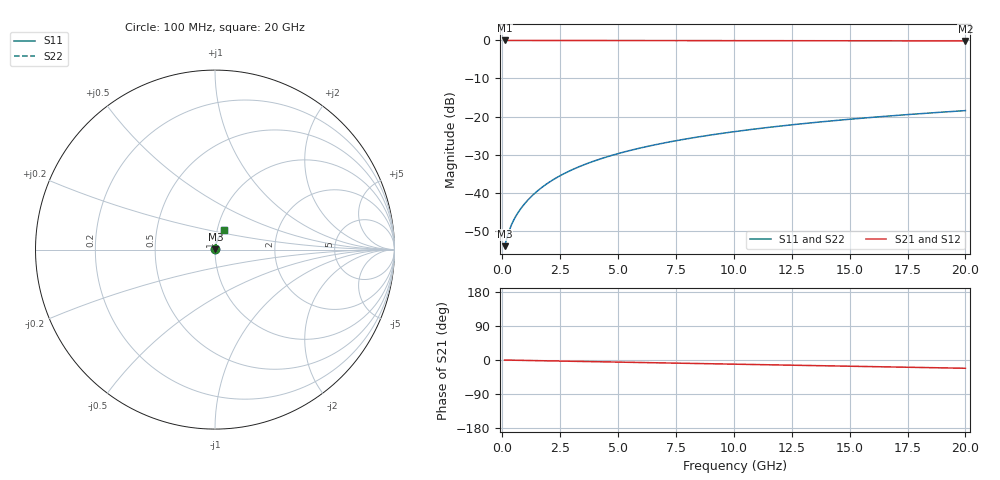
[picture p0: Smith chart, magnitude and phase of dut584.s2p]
! Touchstone file exported from HFSS 2026.1.0
!  File:  C:/ffzhzh/LocalFiles/Ansys_Project_Files/temp_train_TMRDL_584_1783008306_55676.aedt
!  Generated:  12:06:28 AM Jul  3, 2026
!  Design:  TMRDL
!  Project:  temp_train_TMRDL_584_1783008306_55676
! Variables:
!  h_bsmrdl = 2um
!  h_ox = 20um
!  h_rdl = 5um
!  h_sub = 80um
!  h_tmrdl = 2.94um
!  h_tsv = 80um
!  h_via = 3um
!  l_bsmrdl = 300um
!  l_sub = 743.12um
!  l_tmrdl = 343.12um
!  m_sub = 200um
!  pitch = 39.1um
!  r_tsv = 6um
!  s_tmrdl = 10um
!  w_bsmrdl = 18um
!  w_sub = 500um
!  w_tmrdl = 28.23um
!  x_tsv_center1 = 357.235um
!  x_tsv_center2 = 675.235um
!  x_tsv_center3 = 1046.585um
!  x_tsv_center4 = 1364.585um
!  x_tsv_center5 = 1735.935um
!  x_tsv_center6 = 2053.935um
# GHz S MA R 50.000000
! Terminal data exported
! Port[1] = TM_RDL1_1_T1
! Port[2] = TM_RDL1_1_T2
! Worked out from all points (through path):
!   200 points, 100 MHz to 20 GHz, reference 50 ohm
!   highest |S21| = -0.02 dB at 100 MHz (marker M1); lowest = -0.1 dB at 20 GHz (marker M2)
!   group delay of S21, straight-line fit = 3.02 ps
!   lowest |S11| = -54.0 dB at 100 MHz (marker M3), VSWR 1.00, Z = 50.2 + j0.0878 ohm
!   |S11| at or under -10 dB: start of sweep to end of sweep
!   |S22| runs from -54.0 to -18.4 dB; largest |S21 - S12| = 4.2e-15
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0.1  0.001993 26.1  0.9982 -0.1  0.9982 -0.1  0.001993 26.1
! Gamma 0 0 0 0
! Port Impedance 50 0 50 0
0.2  0.002561 41.3  0.9981 -0.2  0.9981 -0.2  0.002561 41.3
0.3  0.003198 49.3  0.9979 -0.4  0.9979 -0.4  0.003198 49.3
0.4  0.003824 54.2  0.9978 -0.5  0.9978 -0.5  0.003824 54.2
0.5  0.004428 57.8  0.9977 -0.6  0.9977 -0.6  0.004428 57.8
0.6  0.005021 60.6  0.9976 -0.7  0.9976 -0.7  0.005021 60.6
0.8  0.0062 65.0  0.9975 -0.9  0.9975 -0.9  0.006201 65.0
1  0.007394 68.2  0.9974 -1.1  0.9974 -1.1  0.007394 68.2
1.2  0.008608 70.6  0.9973 -1.4  0.9973 -1.4  0.008608 70.6
1.7  0.01171 74.4  0.9972 -1.9  0.9972 -1.9  0.01171 74.4
2.2  0.01487 76.4  0.997 -2.5  0.997 -2.5  0.01487 76.4
2.8  0.01869 77.6  0.9968 -3.1  0.9968 -3.1  0.01869 77.6
3.5  0.02316 78.2  0.9966 -3.9  0.9966 -3.9  0.02316 78.2
4.2  0.02762 78.3  0.9963 -4.7  0.9963 -4.7  0.02762 78.3
5  0.03268 78.1  0.9959 -5.6  0.9959 -5.6  0.03268 78.1
5.9  0.03833 77.6  0.9954 -6.6  0.9954 -6.6  0.03833 77.6
6.8  0.04392 77.0  0.9948 -7.6  0.9948 -7.6  0.04393 77.0
8.3  0.05311 75.7  0.9939 -9.2  0.9939 -9.2  0.05311 75.7
10.1  0.06393 74.1  0.9926 -11.2  0.9926 -11.2  0.06393 74.1
13.4  0.0832 70.9  0.9902 -14.7  0.9902 -14.7  0.08321 70.9
16.7  0.1018 67.7  0.9876 -18.3  0.9876 -18.3  0.1018 67.7
20  0.1198 64.4  0.9848 -21.8  0.9848 -21.8  0.1198 64.4
